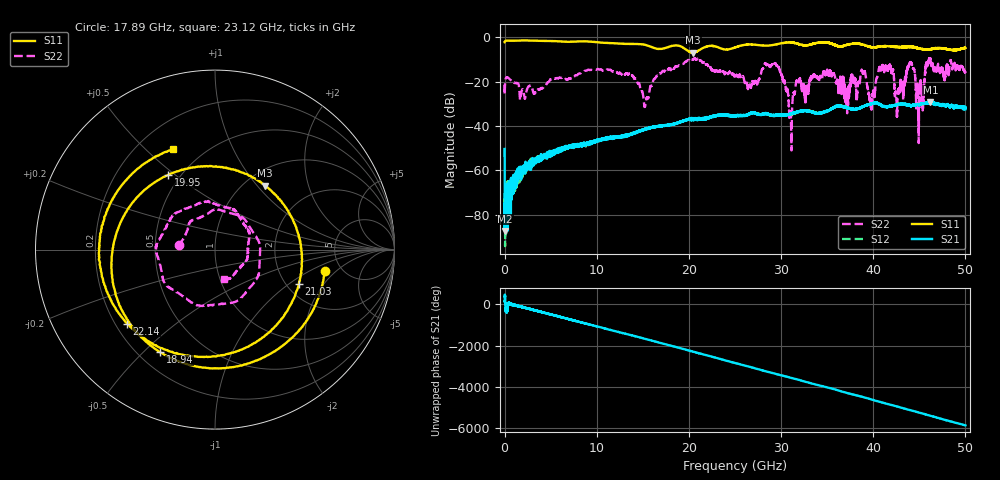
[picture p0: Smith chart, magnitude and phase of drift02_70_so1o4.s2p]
!Created with skrf (http://scikit-rf.org).
# Hz S RI R 50.0
!freq ReS11 ImS11 ReS21 ImS21 ReS12 ImS12 ReS22 ImS22
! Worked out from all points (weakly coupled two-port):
!   10001 points, 300 kHz to 50 GHz, reference 50 ohm
!   highest |S21| = -29.05 dB at 46.21 GHz (marker M1); lowest = -87.3 dB at 60.3 MHz (marker M2)
!   lowest |S11| = -6.9 dB at 20.45 GHz (marker M3), VSWR 2.65, Z = 61.2 + j54.9 ohm
!   |S11| at or under -10 dB: nowhere
!   |S22| runs from -51.0 to -9.0 dB; largest |S21 - S12| = 0.0032
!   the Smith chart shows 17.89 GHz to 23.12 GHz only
!   S11 on the Smith chart (normalised r, x): 17.89 GHz: 3.70, -1.44; 18.94 GHz: 0.28, -0.56; 19.95 GHz: 0.43, +0.47; 21.03 GHz: 2.32, -1.19; 22.14 GHz: 0.25, -0.35; 23.12 GHz: 0.35, +0.61
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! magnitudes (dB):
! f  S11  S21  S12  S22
! 300 kHz  -2.1  -50.3  -72.5  -21.3
! 60.3 MHz  -1.6  -87.3  -81.7  -20.0
! 8.335 GHz  -1.7  -48.3  -48.1  -15.7
! 15.32 GHz  -3.4  -41.3  -41.4  -29.1
! 16.67 GHz  -5.2  -40.2  -40.1  -16.9
! 17.89 GHz  -4.1  -39.5  -39.4  -13.9
! 18.94 GHz  -3.8  -38.5  -38.2  -12.5
! 19.95 GHz  -6.2  -37.2  -37.0  -10.1
! 20.45 GHz  -6.9  -36.7  -36.8  -10.0
! 21.03 GHz  -5.9  -36.8  -36.8  -9.9
! 22.14 GHz  -3.9  -36.4  -36.4  -13.1
! 23.12 GHz  -4.4  -35.3  -35.1  -15.3
! 25 GHz  -4.5  -35.1  -35.4  -17.4
! 29.51 GHz  -3.1  -34.8  -35.1  -12.7
! 31.03 GHz  -2.3  -34.4  -34.7  -35.4
! 33.34 GHz  -3.0  -33.6  -33.4  -18.0
! 38.91 GHz  -3.2  -31.3  -31.1  -16.2
! 39.74 GHz  -4.4  -30.0  -30.0  -29.4
! 41.67 GHz  -4.0  -31.1  -31.1  -13.1
! 45.15 GHz  -5.1  -30.1  -29.9  -20.9
! 46.21 GHz  -5.3  -29.1  -29.3  -10.1
! 50 GHz  -4.8  -32.4  -31.7  -16.2
